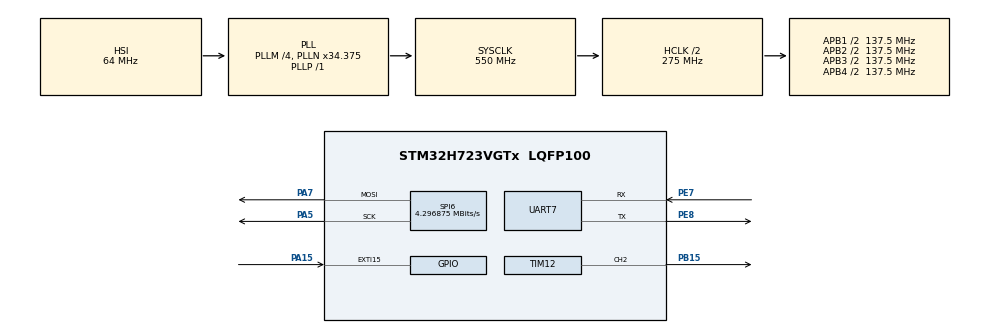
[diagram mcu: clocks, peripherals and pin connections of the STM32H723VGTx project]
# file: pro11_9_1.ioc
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Bdma.Request0=SPI6_TX
Bdma.RequestsNb=1
Bdma.SPI6_TX.0.Direction=DMA_MEMORY_TO_PERIPH
Bdma.SPI6_TX.0.EventEnable=DISABLE
Bdma.SPI6_TX.0.Instance=BDMA_Channel0
Bdma.SPI6_TX.0.MemDataAlignment=DMA_MDATAALIGN_BYTE
Bdma.SPI6_TX.0.MemInc=DMA_MINC_ENABLE
Bdma.SPI6_TX.0.Mode=DMA_NORMAL
Bdma.SPI6_TX.0.PeriphDataAlignment=DMA_PDATAALIGN_BYTE
Bdma.SPI6_TX.0.PeriphInc=DMA_PINC_DISABLE
Bdma.SPI6_TX.0.Polarity=HAL_DMAMUX_REQ_GEN_RISING
Bdma.SPI6_TX.0.Priority=DMA_PRIORITY_LOW
Bdma.SPI6_TX.0.RequestNumber=1
Bdma.SPI6_TX.0.SignalID=NONE
Bdma.SPI6_TX.0.SyncEnable=DISABLE
Bdma.SPI6_TX.0.SyncPolarity=HAL_DMAMUX_SYNC_NO_EVENT
Bdma.SPI6_TX.0.SyncRequestNumber=1
Bdma.SPI6_TX.0.SyncSignalID=NONE
Mcu.Family=STM32H7
Mcu.Name=STM32H723VGTx
Mcu.Package=LQFP100
NVIC.BDMA_Channel0_IRQn=true\:0\:0\:false\:false\:true\:false\:true\:true
NVIC.EXTI15_10_IRQn=true\:15\:0\:true\:false\:true\:true\:true\:true
NVIC.PriorityGroup=NVIC_PRIORITYGROUP_4
NVIC.SPI6_IRQn=true\:0\:0\:false\:false\:true\:false\:true\:true
NVIC.UART7_IRQn=true\:15\:0\:true\:false\:true\:true\:true\:true
PA13(JTMS/SWDIO).Mode=Serial_Wire
PA13(JTMS/SWDIO).Signal=DEBUG_JTMS-SWDIO
PA14(JTCK/SWCLK).Mode=Serial_Wire
PA14(JTCK/SWCLK).Signal=DEBUG_JTCK-SWCLK
PA15(JTDI).GPIO_ModeDefaultEXTI=GPIO_MODE_IT_FALLING
PA15(JTDI).GPIO_PuPd=GPIO_PULLUP
PA15(JTDI).Signal=GPXTI15
PA5.Mode=TX_Only_Simplex_Unidirect_Master
PA5.Signal=SPI6_SCK
PA7.Mode=TX_Only_Simplex_Unidirect_Master
PA7.Signal=SPI6_MOSI
PB15.Signal=S_TIM12_CH2
PE7.Mode=Asynchronous
PE7.Signal=UART7_RX
PE8.Mode=Asynchronous
PE8.Signal=UART7_TX
PH0-OSC_IN.Mode=HSE-External-Oscillator
PH0-OSC_IN.Signal=RCC_OSC_IN
PH1-OSC_OUT.Mode=HSE-External-Oscillator
PH1-OSC_OUT.Signal=RCC_OSC_OUT
ProjectManager.HeapSize=0x200
ProjectManager.StackSize=0x400
ProjectManager.TargetToolchain=CMake
RCC.ADCFreq_Value=129000000
RCC.APB1Freq_Value=137500000
RCC.APB2Freq_Value=137500000
RCC.APB3Freq_Value=137500000
RCC.APB4Freq_Value=137500000
RCC.CortexFreq_Value=550000000
RCC.D1PPRE=RCC_APB3_DIV2
RCC.D2PPRE1=RCC_APB1_DIV2
RCC.D2PPRE2=RCC_APB2_DIV2
RCC.D3PPRE=RCC_APB4_DIV2
RCC.DIVM1=4
RCC.DIVN1=34
RCC.DIVP1=1
RCC.HCLKFreq_Value=275000000
RCC.HPRE=RCC_HCLK_DIV2
RCC.PLL2FRACN=0
RCC.PLL3FRACN=0
RCC.PLLFRACN=3072
RCC.SYSCLKFreq_VALUE=550000000
RCC.SYSCLKSource=RCC_SYSCLKSOURCE_PLLCLK
RCC.USBFreq_Value=275000000
SH.S_TIM12_CH2.0=TIM12_CH2,PWM Generation2 CH2
SPI6.BaudRatePrescaler=SPI_BAUDRATEPRESCALER_32
SPI6.CalculateBaudRate=4.296875 MBits/s
SPI6.DataSize=SPI_DATASIZE_8BIT
SPI6.Direction=SPI_DIRECTION_2LINES_TXONLY
SPI6.Mode=SPI_MODE_MASTER
SPI6.VirtualType=VM_MASTER
TIM12.Channel-PWM\ Generation2\ CH2=TIM_CHANNEL_2
VP_MEMORYMAP_VS_MEMORYMAP.Mode=CurAppReg
board=custom

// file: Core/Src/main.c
/* USER CODE BEGIN Header */
/**
  ******************************************************************************
  * @file           : main.c
  * @brief          : Main program body
  ******************************************************************************
  * @attention
  *
  * Copyright (c) 2026 STMicroelectronics.
  * All rights reserved.
  *
  * This software is licensed under terms that can be found in the LICENSE file
  * in the root directory of this software component.
  * If no LICENSE file comes with this software, it is provided AS-IS.
  *
  ******************************************************************************
  */
/* USER CODE END Header */
#include "main.h"
#include "bdma.h"
#include "spi.h"
#include "tim.h"
#include "usart.h"
#include "gpio.h"

/* USER CODE BEGIN Includes */
#include "ws2812.h"
#include "stdio.h"
/* USER CODE END Includes */

/* USER CODE BEGIN PV */
uint8_t rec;
/* USER CODE END PV */

void SystemClock_Config(void);

/* USER CODE BEGIN 0 */
//定时器中断
void HAL_TIM_PeriodElapsedCallback(TIM_HandleTypeDef *htim) {
  if (htim->Instance == TIM1) {
    WS2812_colorSet(0,0,0,255);
    WS2812_Refresh();
    HAL_Delay(1000);
    WS2812_colorSet(0,0,255,0);
    WS2812_Refresh();
    HAL_Delay(1000);
    WS2812_colorSet(0,255,0,0);
    WS2812_Refresh();
    HAL_Delay(1000);
  }
}
void HAL_UART_RxCpltCallback(UART_HandleTypeDef *huart)
{
  if(huart->Instance == UART7)
  {
    // rx_byte 就是上位机发来的数据
    if(rec == '1')
    {
      __HAL_TIM_SET_COMPARE(&htim12, TIM_CHANNEL_2, 800);
    }
    else if(rec == '0')
    {
      __HAL_TIM_SET_COMPARE(&htim12, TIM_CHANNEL_2, 0);
    }

    // 重新开启下一次中断接收！必须写，不然只收一次
    HAL_UART_Receive_IT(&huart7, &rec, 1);
  }
}

/* USER CODE END 0 */

int main(void)
{

  /* MCU Configuration--------------------------------------------------------*/

  /* Reset of all peripherals, Initializes the Flash interface and the Systick. */
  HAL_Init();

  /* Configure the system clock */
  SystemClock_Config();

  /* Initialize all configured peripherals */
  MX_GPIO_Init();
  MX_BDMA_Init();
  MX_SPI6_Init();
  MX_TIM12_Init();
  MX_UART7_Init();
  /* USER CODE BEGIN 2 */
  //定时器启用(包含中断）
  // HAL_TIM_Base_Start_IT(&htim12);

  //定时器启用(不使用中断）
  HAL_TIM_Base_Start(&htim12);

  //设置PWM占空比
  __HAL_TIM_SET_COMPARE(&htim12, TIM_CHANNEL_2, 600);

  //启动PWM输出
  HAL_TIM_PWM_Start(&htim12, TIM_CHANNEL_2);

  char trans[]="hello";

  HAL_UART_Receive_IT(&huart7, &rec, 1);
  /* USER CODE END 2 */

  /* Infinite loop */
  /* USER CODE BEGIN WHILE */
  while (1)
  {
    __HAL_TIM_SET_COMPARE(&htim12, TIM_CHANNEL_2, 0);
    WS2812_colorSet(0,0,255,0);
    WS2812_Refresh();
    keyCheck(GPIOA, GPIO_PIN_15);
    if (keyPressed()) {
      WS2812_colorSet(0,0,255,255);
      WS2812_Refresh();
      __HAL_TIM_SET_COMPARE(&htim12, TIM_CHANNEL_2, 800);

      HAL_Delay(1000);
      WS2812_colorSet(0,0,255,0);
      WS2812_Refresh();
      __HAL_TIM_SET_COMPARE(&htim12, TIM_CHANNEL_2, 0);

    }
    // HAL_UART_Transmit(&huart7 , "hello\n", 6, HAL_MAX_DELAY);

    /* USER CODE END WHILE */

  }
}

void SystemClock_Config(void)
{
  RCC_OscInitTypeDef RCC_OscInitStruct = {0};
  RCC_ClkInitTypeDef RCC_ClkInitStruct = {0};

  /** Supply configuration update enable
  */
  HAL_PWREx_ConfigSupply(PWR_LDO_SUPPLY);

  /** Configure the main internal regulator output voltage
  */
  __HAL_PWR_VOLTAGESCALING_CONFIG(PWR_REGULATOR_VOLTAGE_SCALE0);

  while(!__HAL_PWR_GET_FLAG(PWR_FLAG_VOSRDY)) {}

  /** Initializes the RCC Oscillators according to the specified parameters
  * in the RCC_OscInitTypeDef structure.
  */
  RCC_OscInitStruct.OscillatorType = RCC_OSCILLATORTYPE_HSI;
  RCC_OscInitStruct.HSIState = RCC_HSI_DIV1;
  RCC_OscInitStruct.HSICalibrationValue = 64;
  RCC_OscInitStruct.PLL.PLLState = RCC_PLL_ON;
  RCC_OscInitStruct.PLL.PLLSource = RCC_PLLSOURCE_HSI;
  RCC_OscInitStruct.PLL.PLLM = 4;
  RCC_OscInitStruct.PLL.PLLN = 34;
  RCC_OscInitStruct.PLL.PLLP = 1;
  RCC_OscInitStruct.PLL.PLLQ = 2;
  RCC_OscInitStruct.PLL.PLLR = 2;
  RCC_OscInitStruct.PLL.PLLRGE = RCC_PLL1VCIRANGE_3;
  RCC_OscInitStruct.PLL.PLLVCOSEL = RCC_PLL1VCOWIDE;
  RCC_OscInitStruct.PLL.PLLFRACN = 3072;
  if (HAL_RCC_OscConfig(&RCC_OscInitStruct) != HAL_OK)
  {
    Error_Handler();
  }

  /** Initializes the CPU, AHB and APB buses clocks
  */
  RCC_ClkInitStruct.ClockType = RCC_CLOCKTYPE_HCLK|RCC_CLOCKTYPE_SYSCLK
                              |RCC_CLOCKTYPE_PCLK1|RCC_CLOCKTYPE_PCLK2
                              |RCC_CLOCKTYPE_D3PCLK1|RCC_CLOCKTYPE_D1PCLK1;
  RCC_ClkInitStruct.SYSCLKSource = RCC_SYSCLKSOURCE_PLLCLK;
  RCC_ClkInitStruct.SYSCLKDivider = RCC_SYSCLK_DIV1;
  RCC_ClkInitStruct.AHBCLKDivider = RCC_HCLK_DIV2;
  RCC_ClkInitStruct.APB3CLKDivider = RCC_APB3_DIV2;
  RCC_ClkInitStruct.APB1CLKDivider = RCC_APB1_DIV2;
  RCC_ClkInitStruct.APB2CLKDivider = RCC_APB2_DIV2;
  RCC_ClkInitStruct.APB4CLKDivider = RCC_APB4_DIV2;

  if (HAL_RCC_ClockConfig(&RCC_ClkInitStruct, FLASH_LATENCY_3) != HAL_OK)
  {
    Error_Handler();
  }
}

void Error_Handler(void)
{
  __disable_irq();
  while (1)
  {
  }
}
